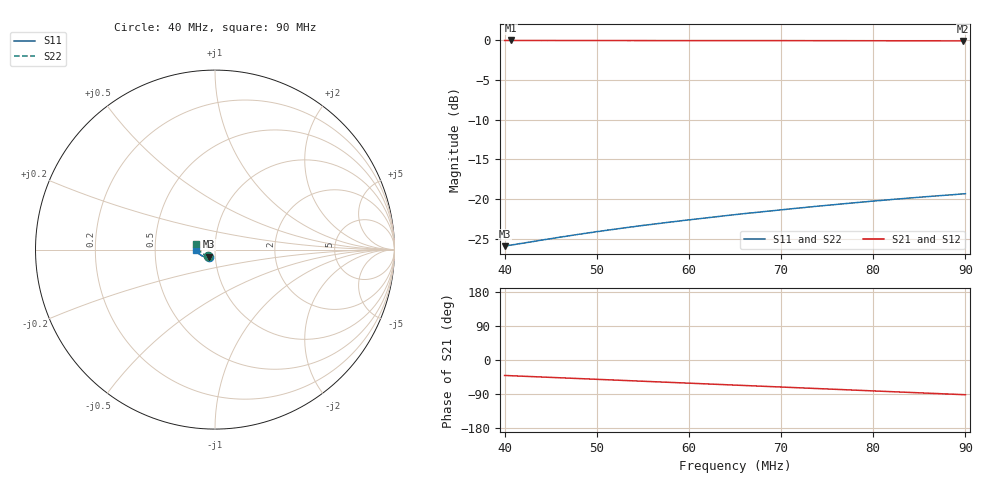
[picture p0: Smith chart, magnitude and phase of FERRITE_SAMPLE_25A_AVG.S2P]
!Agilent Technologies,E5061B,MY49102235,A.02.00
!Date: Mon Jul 03 10:56:18 2023
!Data & Calibration Information:
!Freq	S11:SOLT2(ON)	S21:SOLT2(ON)	S12:SOLT2(ON)	S22:SOLT2(ON)
# Hz S RI R 50
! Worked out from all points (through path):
!   1600 points, 40 MHz to 90 MHz, reference 50 ohm
!   highest |S21| = -0.01 dB at 40.69 MHz (marker M1); lowest = -0.1 dB at 89.78 MHz (marker M2)
!   group delay of S21, straight-line fit = 2.83 ns
!   lowest |S11| = -26.0 dB at 40 MHz (marker M3), VSWR 1.11, Z = 46.7 - j3.63 ohm
!   |S11| at or under -10 dB: start of sweep to end of sweep
!   |S22| runs from -26.1 to -19.4 dB; largest |S21 - S12| = 0.0015
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4e7  -0.0322 -0.0388  0.7563 -0.6526  0.7564 -0.6516  -0.0371 -0.033
4.068793e7  -0.0332 -0.039  0.7484 -0.6618  0.7485 -0.6607  -0.0381 -0.0331
4.300188e7  -0.0365 -0.0395  0.7202 -0.6918  0.7205 -0.6911  -0.042 -0.0329
4.444028e7  -0.0386 -0.0399  0.7021 -0.7098  0.7025 -0.7092  -0.0444 -0.0327
4.834897e7  -0.0445 -0.0405  0.651 -0.7565  0.6511 -0.7561  -0.0509 -0.0313
5.225766e7  -0.0507 -0.0405  0.5965 -0.7998  0.5965 -0.7992  -0.0574 -0.029
5.482176e7  -0.0546 -0.0401  0.5593 -0.8257  0.5594 -0.8254  -0.0616 -0.027
5.666667e7  -0.0576 -0.0397  0.5319 -0.8433  0.5319 -0.8428  -0.0645 -0.0252
5.873046e7  -0.0611 -0.0389  0.5008 -0.8622  0.5005 -0.8615  -0.0676 -0.0233
6.082552e7  -0.0645 -0.0379  0.4683 -0.8799  0.4682 -0.8793  -0.0707 -0.0211
6.501563e7  -0.0716 -0.035  0.4013 -0.9123  0.4017 -0.9112  -0.0769 -0.0163
6.901814e7  -0.0783 -0.0312  0.3354 -0.9383  0.336 -0.9374  -0.0826 -0.011
7.133208e7  -0.0821 -0.0286  0.2964 -0.9512  0.297 -0.9503  -0.0859 -0.00743
7.33646e7  -0.0854 -0.0263  0.2615 -0.9612  0.2624 -0.9604  -0.0886 -0.00419
7.533458e7  -0.0883 -0.0236  0.2276 -0.9695  0.2282 -0.9688  -0.0908 -0.000847
7.746091e7  -0.0916 -0.0209  0.1907 -0.977  0.1912 -0.9764  -0.0935 0.00309
7.936836e7  -0.0945 -0.0182  0.1572 -0.9823  0.1578 -0.982  -0.0956 0.00694
8.16823e7  -0.0978 -0.0149  0.1167 -0.9875  0.1174 -0.9873  -0.0979 0.0117
8.349593e7  -0.1002 -0.0121  0.0849 -0.9905  0.0854 -0.99  -0.0994 0.0156
8.596623e7  -0.1032 -0.00815  0.0416 -0.9928  0.0419 -0.9924  -0.101 0.0213
8.978111e7  -0.1077 -0.00147  -0.0252 -0.9926  -0.025 -0.9922  -0.1031 0.0302
9e7  -0.1079 -0.000989  -0.0288 -0.9925  -0.0288 -0.992  -0.1032 0.0308
